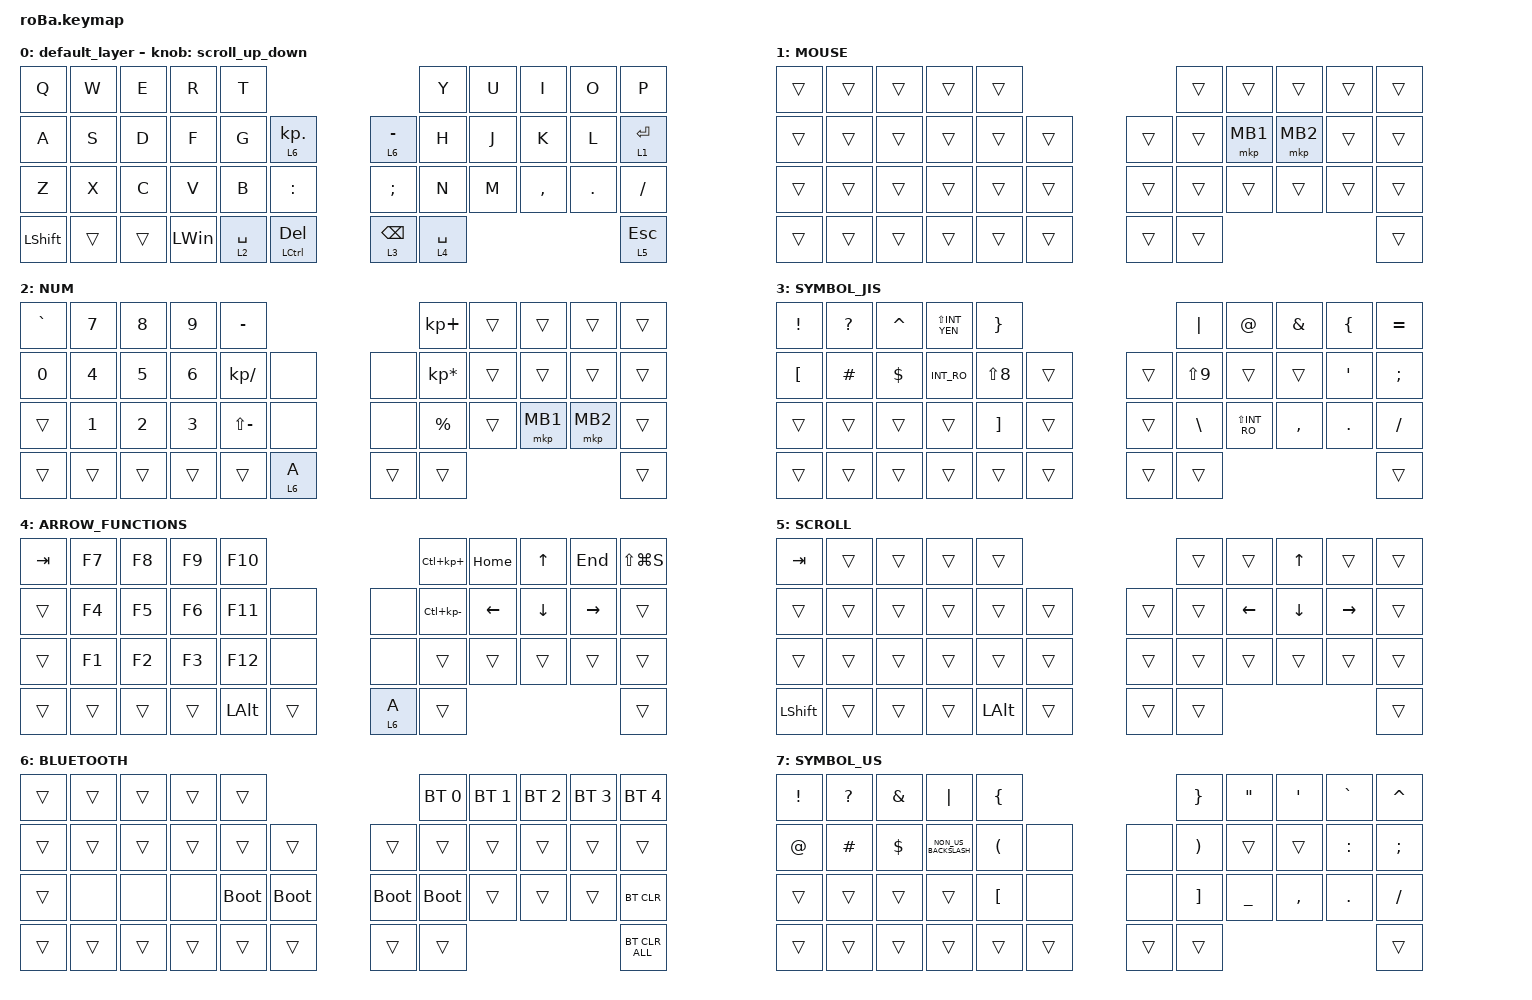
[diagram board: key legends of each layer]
#include <behaviors.dtsi>
#include <dt-bindings/zmk/bt.h>
#include <dt-bindings/zmk/keys.h>
#include <dt-bindings/zmk/pointing.h>


// #includeのあとのあたりにスクロール量を変更

#define ZMK_POINTING_DEFAULT_SCRL_VAL 100
#define MOUSE 1
#define SCROLL 5
#define NUM 2

&mt {
    flavor = "balanced";
    quick-tap-ms = <300>;
};


&lt { quick-tap-ms = <300>; };

&trackball {
    automouse-layer = <4>;
    scroll-layers = <5>;

    // arrows {
    //     layers = <3>;
    //     bindings =
    //         <&kp RIGHT_ARROW>,
    //         <&kp LEFT_ARROW>,
    //         <&kp UP_ARROW>,
    //         <&kp DOWN_ARROW>;

    //     tick = <10>;
    //     wait-ms = <5>;
    //     tap-ms = <5>;
    // };
};


/ {
    combos { compatible = "zmk,combos"; };

    macros {
        to_layer_0: to_layer_0 {
            compatible = "zmk,behavior-macro-one-param";
            #binding-cells = <1>;
            bindings = <&to 0 &macro_param_1to1 &kp MACRO_PLACEHOLDER>;
            label = "TO_LAYER_0";
        };

        //mkp_exit_AML: mkp_exit_AML {
        //    compatible = "zmk,behavior-macro-one-param";
        //    #binding-cells = <1>;
        //    bindings =
        //        <&macro_press>,
        //        <&macro_param_1to1 &mkp MACRO_PLACEHOLDER>,
        //        <&macro_pause_for_release>,
        //        <&macro_release>,
        //        <&macro_param_1to1 &mkp MACRO_PLACEHOLDER>,
        //        <&macro_tap>,
        //        <&sl 6>;
        //    label = "MKP_EXIT_AML";
        //};
    };

    behaviors {
        lt_to_layer_0: lt_to_layer_0 {
            compatible = "zmk,behavior-hold-tap";
            label = "LAYER_TAP_TO_0";
            bindings = <&mo>, <&to_layer_0>;

            #binding-cells = <2>;
            tapping-term-ms = <200>;
        };

        // 新しいスクロール動作の追加

        scroll_up_down: behavior_sensor_rotate_mouse_wheel_up_down {
            compatible = "zmk,behavior-sensor-rotate";
            #sensor-binding-cells = <0>;
            bindings = <&msc SCRL_DOWN>, <&msc SCRL_UP>;

            // 追加: スクロールのタップ時間を設定 (20ms)

            tap-ms = <20>;
        };
    };

    keymap {
        compatible = "zmk,keymap";

        default_layer {
            bindings = <
&kp Q           &kp W   &kp E   &kp R         &kp T                                                      &kp Y        &kp U  &kp I      &kp O    &kp P
&kp A           &kp S   &kp D   &kp F         &kp G        &lt 6 KP_DOT                 &lt 6 MINUS      &kp H        &kp J  &kp K      &kp L    &lt 1 ENTER
&kp Z           &kp X   &kp C   &kp V         &kp B        &kp COLON                    &kp SEMICOLON    &kp N        &kp M  &kp COMMA  &kp DOT  &kp SLASH
&kp LEFT_SHIFT  &trans  &trans  &kp LEFT_WIN  &lt 2 SPACE  &mt LEFT_CONTROL DELETE      &lt 3 BACKSPACE  &lt 4 SPACE                             &lt 5 ESCAPE
            >;

            sensor-bindings = <&scroll_up_down>;
        };

        MOUSE {
            bindings = <
&trans  &trans  &trans  &trans  &trans                      &trans  &trans    &trans    &trans  &trans
&trans  &trans  &trans  &trans  &trans  &trans      &trans  &trans  &mkp MB1  &mkp MB2  &trans  &trans
&trans  &trans  &trans  &trans  &trans  &trans      &trans  &trans  &trans    &trans    &trans  &trans
&trans  &trans  &trans  &trans  &trans  &trans      &trans  &trans                              &trans
            >;
        };

        NUM {
            bindings = <
&kp GRAVE  &kp N7  &kp N8  &kp N9  &kp MINUS                           &kp KP_PLUS      &trans  &trans    &trans    &trans
&kp N0     &kp N4  &kp N5  &kp N6  &kp KP_SLASH   &none        &none   &kp KP_ASTERISK  &trans  &trans    &trans    &trans
&trans     &kp N1  &kp N2  &kp N3  &kp LS(MINUS)  &none        &none   &kp PERCENT      &trans  &mkp MB1  &mkp MB2  &trans
&trans     &trans  &trans  &trans  &trans         &lt 6 A      &trans  &trans                                       &trans
            >;
        };

        SYMBOL_JIS {
            bindings = <
&kp EXCLAMATION   &kp QUESTION  &kp CARET   &kp LS(INT_YEN)  &kp RIGHT_BRACE                        &kp PIPE       &kp AT_SIGN     &kp AMPERSAND  &kp LEFT_BRACE    &kp EQUAL
&kp LEFT_BRACKET  &kp HASH      &kp DOLLAR  &kp INT_RO       &kp LS(N8)         &trans      &trans  &kp LS(N9)     &trans          &trans         &kp SINGLE_QUOTE  &kp SEMICOLON
&trans            &trans        &trans      &trans           &kp RIGHT_BRACKET  &trans      &trans  &kp BACKSLASH  &kp LS(INT_RO)  &kp COMMA      &kp PERIOD        &kp SLASH
&trans            &trans        &trans      &trans           &trans             &trans      &trans  &trans                                                          &trans
            >;
        };

        ARROW_FUNCTIONS {
            bindings = <
&kp TAB  &kp F7  &kp F8  &kp F9  &kp F10                            &kp LC(KP_PLUS)   &kp HOME        &kp UP_ARROW    &kp END          &kp LS(LG(S))
&trans   &kp F4  &kp F5  &kp F6  &kp F11       &none       &none    &kp LC(KP_MINUS)  &kp LEFT_ARROW  &kp DOWN_ARROW  &kp RIGHT_ARROW  &trans
&trans   &kp F1  &kp F2  &kp F3  &kp F12       &none       &none    &trans            &trans          &trans          &trans           &trans
&trans   &trans  &trans  &trans  &kp LEFT_ALT  &trans      &lt 6 A  &trans                                                             &trans
            >;
        };

        SCROLL {
            bindings = <
&kp TAB         &trans  &trans  &trans  &trans                            &trans  &trans          &kp UP_ARROW    &trans           &trans
&trans          &trans  &trans  &trans  &trans        &trans      &trans  &trans  &kp LEFT_ARROW  &kp DOWN_ARROW  &kp RIGHT_ARROW  &trans
&trans          &trans  &trans  &trans  &trans        &trans      &trans  &trans  &trans          &trans          &trans           &trans
&kp LEFT_SHIFT  &trans  &trans  &trans  &kp LEFT_ALT  &trans      &trans  &trans                                                   &trans
            >;
        };

        BLUETOOTH {
            bindings = <
&trans  &trans  &trans  &trans  &trans                                     &bt BT_SEL 0  &bt BT_SEL 1  &bt BT_SEL 2  &bt BT_SEL 3  &bt BT_SEL 4
&trans  &trans  &trans  &trans  &trans       &trans           &trans       &trans        &trans        &trans        &trans        &trans
&trans  &none   &none   &none   &bootloader  &bootloader      &bootloader  &bootloader   &trans        &trans        &trans        &bt BT_CLR
&trans  &trans  &trans  &trans  &trans       &trans           &trans       &trans                                                  &bt BT_CLR_ALL
            >;
        };

        SYMBOL_US {
            bindings = <
&kp EXCLAMATION  &kp QUESTION  &kp AMPERSAND  &kp PIPE              &kp LEFT_BRACE                            &kp RIGHT_BRACE        &kp DOUBLE_QUOTES  &kp SINGLE_QUOTE  &kp GRAVE   &kp CARET
&kp AT_SIGN      &kp HASH      &kp DOLLAR     &kp NON_US_BACKSLASH  &kp LEFT_PARENTHESIS  &none       &none   &kp RIGHT_PARENTHESIS  &trans             &trans            &kp COLON   &kp SEMICOLON
&trans           &trans        &trans         &trans                &kp LEFT_BRACKET      &none       &none   &kp RIGHT_BRACKET      &kp UNDERSCORE     &kp COMMA         &kp PERIOD  &kp SLASH
&trans           &trans        &trans         &trans                &trans                &trans      &trans  &trans                                                                  &trans
            >;
        };
    };
};
